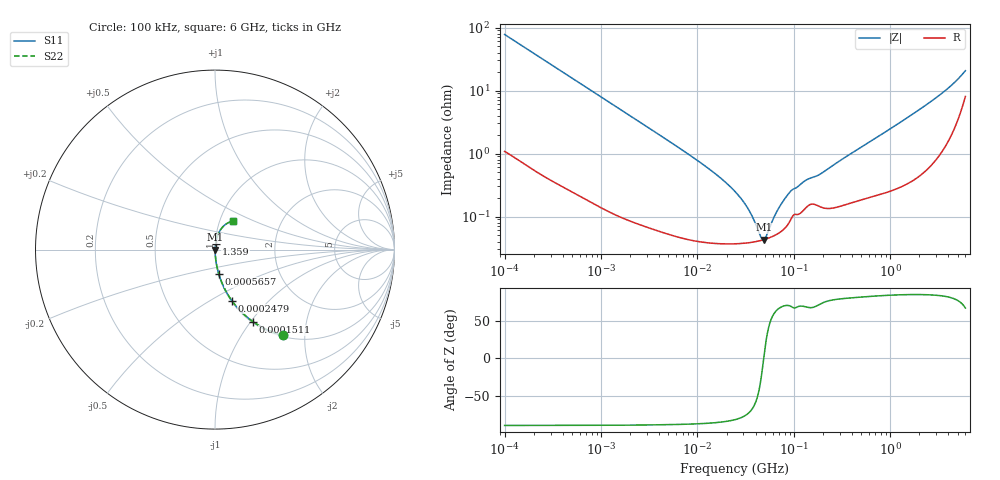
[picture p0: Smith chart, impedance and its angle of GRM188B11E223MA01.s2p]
!Murata Part Number: GRM188B11E223MA01
!These Parameters are Measured in Series Mode Connection
!Data Generated on Mar 30, 2021
!  o--ll--o
!Port1  Port2
!  o------o
!Operation Temp=25[degC], DC Bias Voltage=0[V]
!Freq. Start=100[kHz] Stop=6[GHz] 401[Steps]
# Hz S RI R 50
!Freq.(Hz) S11(Real) S11(Imag) S21(Real) S21(Imag) S12(Real) S12(Imag) S22(Real) S22(Imag)
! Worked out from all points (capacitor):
!   401 points, 100 kHz to 6 GHz, reference 50 ohm
!   read as one part in series: C = 20.5 nF near 105.7 kHz
!   lowest |Z| = 42.9 mohm at 48.72 MHz (marker M1)
!   series resonance near 48.58 MHz, so ESL is about 520 pH
!   S11 on the Smith chart (normalised r, x): 100 kHz: 1.02, -1.55; 151.1 kHz: 1.01, -1.03; 247.9 kHz: 1.01, -0.63; 565.7 kHz: 1.00, -0.28; 1.359 GHz: 1.01, +0.07; 6 GHz: 1.16, +0.38
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100000  0.3772 -0.4778  0.6228 0.4778  0.6228 0.4778  0.3772 -0.4778
151071  0.2133 -0.4027  0.7867 0.4027  0.7867 0.4027  0.2133 -0.4027
247855  0.0938 -0.2846  0.9062 0.2846  0.9062 0.2846  0.0938 -0.2846
565664  0.0211 -0.136  0.9789 0.136  0.9789 0.136  0.0211 -0.136
631452  0.0173 -0.1224  0.9827 0.1224  0.9827 0.1224  0.0173 -0.1224
3987316  0.00098 -0.0199  0.999 0.0199  0.999 0.0199  0.00098 -0.0199
1.337449e7  0.000411 -0.00558  0.9996 0.00558  0.9996 0.00558  0.000411 -0.00558
2.517799e7  0.000374 -0.00235  0.9996 0.00235  0.9996 0.00235  0.000374 -0.00235
3.314933e7  0.000383 -0.00131  0.9996 0.00131  0.9996 0.00131  0.000383 -0.00131
3.80366e7  0.000394 -0.000826  0.9996 0.000826  0.9996 0.000826  0.000394 -0.000826
4.486152e7  0.000414 -0.000267  0.9996 0.000267  0.9996 0.000267  0.000414 -0.000267
4.872031e7  0.000429 9.9e-06  0.9996 -9.9e-06  0.9996 -9.9e-06  0.000429 9.9e-06
5.147553e7  0.00044 0.000195  0.9996 -0.000195  0.9996 -0.000195  0.00044 0.000195
6.777267e7  0.000532 0.00115  0.9995 -0.00115  0.9995 -0.00115  0.000532 0.00115
8.680865e7  0.000753 0.00211  0.9992 -0.00211  0.9992 -0.00211  0.000753 0.00211
1.275846e8  0.00129 0.00336  0.9987 -0.00336  0.9987 -0.00336  0.00129 0.00336
1.546735e8  0.00159 0.00383  0.9984 -0.00383  0.9984 -0.00383  0.00159 0.00383
1.927432e8  0.00142 0.00462  0.9986 -0.00462  0.9986 -0.00462  0.00142 0.00462
9.76689e8  0.00306 0.0239  0.9969 -0.0239  0.9969 -0.0239  0.00306 0.0239
1.358629e9  0.00415 0.0331  0.9958 -0.0331  0.9958 -0.0331  0.00415 0.0331
3.863894e9  0.0244 0.1  0.9756 -0.1  0.9756 -0.1  0.0244 0.1
6e9  0.1022 0.1579  0.8978 -0.1579  0.8978 -0.1579  0.1022 0.1579
